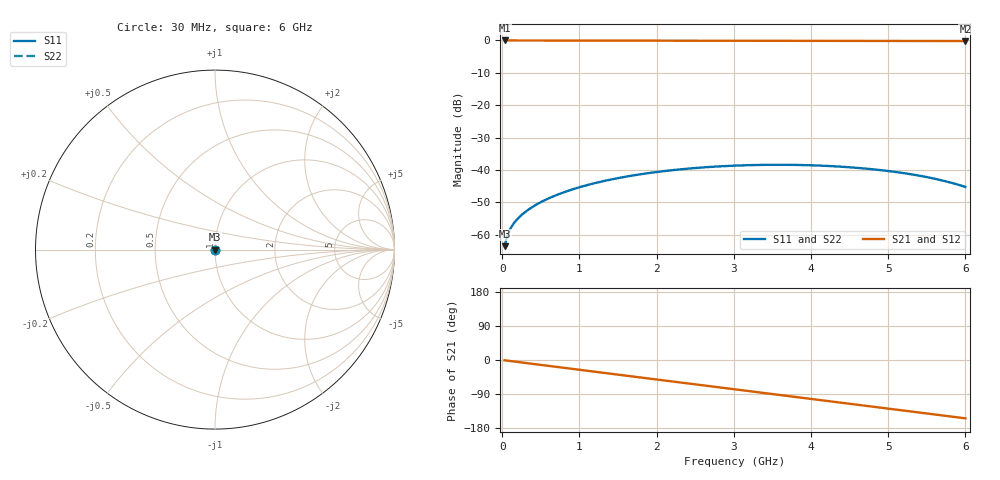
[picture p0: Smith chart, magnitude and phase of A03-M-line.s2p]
! yapnr Order 0 O0-M: O0-M A03 M dL13 (line, family M)
! stackup OSHPARK-4L-FR408HR, nominal parameters; geometry of the OSHPARK-4L-FR408HR design
! model: 2D quasi-static RLGC (Djordjevic-Sarkar, Huray roughness, Wheeler loss); generated by python -m yapnr.rf.coupons expected --stackup OSHPARK-4L-FR408HR --upload M
! reference planes 10 mm from each end; 50 ohm (from the M line's Zc)
# GHz S DB R 50
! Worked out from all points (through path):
!   200 points, 30 MHz to 6 GHz, reference 50 ohm
!   highest |S21| = -0.01 dB at 30 MHz (marker M1); lowest = -0.2 dB at 6 GHz (marker M2)
!   group delay of S21, straight-line fit = 71.2 ps
!   lowest |S11| = -63.5 dB at 30 MHz (marker M3), VSWR 1.00, Z = 50 + j0.0454 ohm
!   |S11| at or under -10 dB: start of sweep to end of sweep
!   |S22| runs from -63.5 to -38.4 dB; largest |S21 - S12| = 0
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0.03  -63.52 42.8  -0.01 -0.8  -0.01 -0.8  -63.52 42.8
0.06  -60.58 44.3  -0.01 -1.6  -0.01 -1.6  -60.58 44.3
0.09  -58.80 45.5  -0.01 -2.4  -0.01 -2.4  -58.80 45.5
0.12  -57.49 46.4  -0.01 -3.1  -0.01 -3.1  -57.49 46.4
0.15  -56.44 47.1  -0.01 -3.9  -0.01 -3.9  -56.44 47.1
0.21  -54.79 48.3  -0.02 -5.5  -0.02 -5.5  -54.79 48.3
0.3  -52.90 49.5  -0.02 -7.8  -0.02 -7.8  -52.90 49.5
0.42  -50.98 50.2  -0.02 -10.9  -0.02 -10.9  -50.98 50.2
0.6  -48.77 50.0  -0.03 -15.6  -0.03 -15.6  -48.77 50.0
0.81  -46.78 48.4  -0.04 -20.9  -0.04 -20.9  -46.78 48.4
1.05  -44.99 45.5  -0.05 -27.1  -0.05 -27.1  -44.99 45.5
1.53  -42.37 37.8  -0.06 -39.4  -0.06 -39.4  -42.37 37.8
2.04  -40.50 27.9  -0.08 -52.5  -0.08 -52.5  -40.50 27.9
2.55  -39.30 17.1  -0.09 -65.6  -0.09 -65.6  -39.30 17.1
3.03  -38.64 6.4  -0.11 -77.9  -0.11 -77.9  -38.64 6.4
3.51  -38.39 -4.5  -0.12 -90.2  -0.12 -90.2  -38.39 -4.5
4.02  -38.56 -16.4  -0.13 -103.2  -0.13 -103.2  -38.56 -16.4
4.5  -39.16 -27.6  -0.15 -115.5  -0.15 -115.5  -39.16 -27.6
5.01  -40.34 -39.5  -0.16 -128.6  -0.16 -128.6  -40.34 -39.5
5.55  -42.43 -52.1  -0.17 -142.4  -0.17 -142.4  -42.43 -52.1
5.79  -43.76 -57.5  -0.18 -148.6  -0.18 -148.6  -43.76 -57.5
6  -45.23 -62.1  -0.18 -153.9  -0.18 -153.9  -45.23 -62.1
